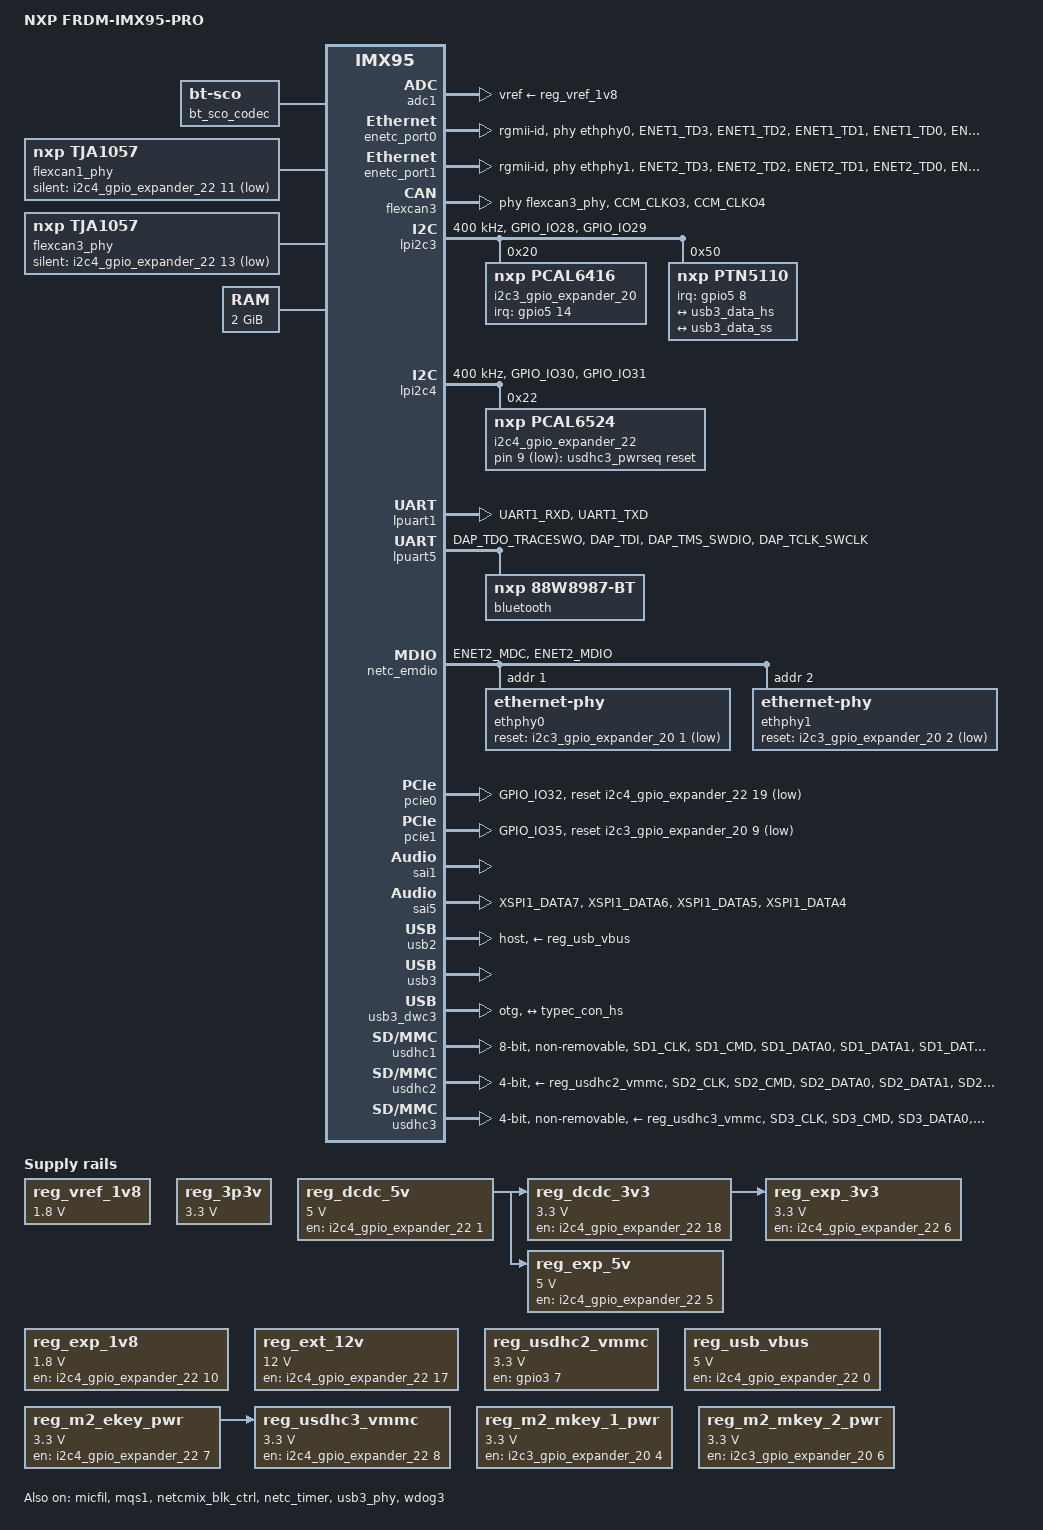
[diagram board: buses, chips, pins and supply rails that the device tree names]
// SPDX-License-Identifier: (GPL-2.0+ OR MIT)
/*
 * Copyright 2026 NXP
 */

/dts-v1/;

#include <dt-bindings/pwm/pwm.h>
#include <dt-bindings/usb/pd.h>
#include "imx95.dtsi"

#define FALLING_EDGE		BIT(0)
#define RISING_EDGE		BIT(1)

#define BRD_SM_CTRL_SD3_WAKE		0x8000	/*!< PCAL6408A-0 */
#define BRD_SM_CTRL_PCIE1_WAKE		0x8001	/*!< PCAL6408A-4 */
#define BRD_SM_CTRL_BT_WAKE		0x8002	/*!< PCAL6408A-5 */
#define BRD_SM_CTRL_PCIE2_WAKE		0x8003	/*!< PCAL6408A-6 */
#define BRD_SM_CTRL_BUTTON		0x8004	/*!< PCAL6408A-7 */

/ {
	model = "NXP FRDM-IMX95-PRO";
	compatible = "fsl,imx95-19x19-frdm-pro", "fsl,imx95";

	aliases {
		ethernet0 = &enetc_port0;
		ethernet1 = &enetc_port1;
		gpio0 = &gpio1;
		gpio1 = &gpio2;
		gpio2 = &gpio3;
		gpio3 = &gpio4;
		gpio4 = &gpio5;
		i2c0 = &lpi2c1;
		i2c1 = &lpi2c2;
		i2c2 = &lpi2c3;
		i2c3 = &lpi2c4;
		mmc0 = &usdhc1;
		mmc1 = &usdhc2;
		serial0 = &lpuart1;
		serial4 = &lpuart5;
	};

	bt_sco_codec: bt_sco_codec {
		#sound-dai-cells = <1>;
		compatible = "linux,bt-sco";
	};

	chosen {
		stdout-path = &lpuart1;
		#address-cells = <2>;
		#size-cells = <2>;
	};

	flexcan1_phy: can-phy0 {
		compatible = "nxp,tja1057";
		#phy-cells = <0>;
		max-bitrate = <5000000>;
		silent-gpios = <&i2c4_gpio_expander_22 11 GPIO_ACTIVE_LOW>;
	};

	flexcan3_phy: can-phy2 {
		compatible = "nxp,tja1057";
		#phy-cells = <0>;
		max-bitrate = <5000000>;
		silent-gpios = <&i2c4_gpio_expander_22 13 GPIO_ACTIVE_LOW>;
	};

	memory@80000000 {
		device_type = "memory";
		reg = <0x0 0x80000000 0 0x80000000>;
	};

	reserved-memory {
		#address-cells = <2>;
		#size-cells = <2>;
		ranges;

		linux_cma: linux,cma {
			compatible = "shared-dma-pool";
			reusable;
			size = <0 0x3c000000>;
			alloc-ranges = <0 0x80000000 0 0x7F000000>;
			linux,cma-default;
		};
	};

	reg_vref_1v8: regulator-1p8v {
		compatible = "regulator-fixed";
		regulator-max-microvolt = <1800000>;
		regulator-min-microvolt = <1800000>;
		regulator-name = "+V1.8_SW";
	};

	reg_3p3v: regulator-3p3v {
		compatible = "regulator-fixed";
		regulator-max-microvolt = <3300000>;
		regulator-min-microvolt = <3300000>;
		regulator-name = "+V3.3_SW";
	};

	reg_dcdc_5v: regulator-dcdc-5v {
		compatible = "regulator-fixed";
		regulator-max-microvolt = <5000000>;
		regulator-min-microvolt = <5000000>;
		regulator-name = "DCDC_5V";
		gpio = <&i2c4_gpio_expander_22 1 GPIO_ACTIVE_HIGH>;
		enable-active-high;
		regulator-always-on;
	};

	reg_dcdc_3v3: regulator-dcdc-3v3 {
		compatible = "regulator-fixed";
		regulator-max-microvolt = <3300000>;
		regulator-min-microvolt = <3300000>;
		regulator-name = "DCDC_3V3";
		gpio = <&i2c4_gpio_expander_22 18 GPIO_ACTIVE_HIGH>;
		vin-supply = <&reg_dcdc_5v>;
		enable-active-high;
		regulator-always-on;
	};

	reg_exp_1v8: regulator-exp-1v8 {
		compatible = "regulator-fixed";
		regulator-max-microvolt = <1800000>;
		regulator-min-microvolt = <1800000>;
		regulator-name = "EXP_1V8";
		gpio = <&i2c4_gpio_expander_22 10 GPIO_ACTIVE_HIGH>;
		enable-active-high;
	};

	reg_exp_3v3: regulator-exp-3v3 {
		compatible = "regulator-fixed";
		regulator-max-microvolt = <3300000>;
		regulator-min-microvolt = <3300000>;
		regulator-name = "EXP_3V3";
		gpio = <&i2c4_gpio_expander_22 6 GPIO_ACTIVE_HIGH>;
		vin-supply = <&reg_dcdc_3v3>;
		enable-active-high;
	};

	reg_exp_5v: regulator-exp-5v {
		compatible = "regulator-fixed";
		regulator-max-microvolt = <5000000>;
		regulator-min-microvolt = <5000000>;
		regulator-name = "EXP_5V";
		gpio = <&i2c4_gpio_expander_22 5 GPIO_ACTIVE_HIGH>;
		vin-supply = <&reg_dcdc_5v>;
		enable-active-high;
		regulator-always-on;
	};

	reg_ext_12v: regulator-ext-12v {
		compatible = "regulator-fixed";
		regulator-name = "VCCEXT_12V";
		regulator-min-microvolt = <12000000>;
		regulator-max-microvolt = <12000000>;
		gpio = <&i2c4_gpio_expander_22 17 GPIO_ACTIVE_HIGH>;
		enable-active-high;
		regulator-always-on;
	};

	reg_usdhc2_vmmc: regulator-usdhc2 {
		compatible = "regulator-fixed";
		pinctrl-names = "default";
		pinctrl-0 = <&pinctrl_reg_usdhc2_vmmc>;
		regulator-name = "VDD_SD2_3V3";
		regulator-min-microvolt = <3300000>;
		regulator-max-microvolt = <3300000>;
		gpio = <&gpio3 7 GPIO_ACTIVE_HIGH>;
		off-on-delay-us = <12000>;
		enable-active-high;
	};

	reg_usb_vbus: regulator-vbus {
		compatible = "regulator-fixed";
		regulator-name = "USB_VBUS";
		regulator-min-microvolt = <5000000>;
		regulator-max-microvolt = <5000000>;
		gpio = <&i2c4_gpio_expander_22 0 GPIO_ACTIVE_HIGH>;
		enable-active-high;
	};

	usdhc3_pwrseq: usdhc3_pwrseq {
		compatible = "mmc-pwrseq-simple";
		reset-gpios = <&i2c4_gpio_expander_22 9 GPIO_ACTIVE_LOW>;
	};

	reg_usdhc3_vmmc: regulator-usdhc3 {
		compatible = "regulator-fixed";
		regulator-name = "WLAN_EN";
		regulator-min-microvolt = <3300000>;
		regulator-max-microvolt = <3300000>;
		vin-supply = <&reg_m2_ekey_pwr>;
		gpio = <&i2c4_gpio_expander_22 8 GPIO_ACTIVE_HIGH>;
		/*
		 * IW612 wifi chip needs more delay than other wifi chips to complete
		 * the host interface initialization after power up, otherwise the
		 * internal state of IW612 may be unstable, resulting in the failure of
		 * the SDIO3.0 switch voltage.
		 */
		startup-delay-us = <20000>;
		enable-active-high;
	};

	reg_m2_ekey_pwr: regulator-m2-pwr {
		compatible = "regulator-fixed";
		regulator-name = "M.2-power-ekey";
		regulator-min-microvolt = <3300000>;
		regulator-max-microvolt = <3300000>;
		gpio = <&i2c4_gpio_expander_22 7 GPIO_ACTIVE_HIGH>;
		enable-active-high;
		regulator-always-on;
	};

	reg_m2_mkey_1_pwr: regulator-m2-mkey-1-pwr {
		compatible = "regulator-fixed";
		regulator-name = "M.2-power-mkey-1";
		regulator-min-microvolt = <3300000>;
		regulator-max-microvolt = <3300000>;
		gpio = <&i2c3_gpio_expander_20 4 GPIO_ACTIVE_HIGH>;
		enable-active-high;
		regulator-always-on;
	};

	reg_m2_mkey_2_pwr: regulator-m2-mkey-2-pwr {
		compatible = "regulator-fixed";
		regulator-name = "M.2-power-mkey-2";
		regulator-min-microvolt = <3300000>;
		regulator-max-microvolt = <3300000>;
		gpio = <&i2c3_gpio_expander_20 6 GPIO_ACTIVE_HIGH>;
		enable-active-high;
		regulator-always-on;
	};

	sound-bt-sco {
		compatible = "simple-audio-card";
		simple-audio-card,name = "bt-sco-audio";
		simple-audio-card,format = "dsp_a";
		simple-audio-card,bitclock-inversion;
		simple-audio-card,frame-master = <&btcpu>;
		simple-audio-card,bitclock-master = <&btcpu>;

		btcpu: simple-audio-card,cpu {
			sound-dai = <&sai5>;
			dai-tdm-slot-num = <2>;
			dai-tdm-slot-width = <16>;
		};

		simple-audio-card,codec {
			sound-dai = <&bt_sco_codec 1>;
		};
	};

	sound-micfil {
		compatible = "fsl,imx-audio-card";
		model = "micfil-audio";
		pri-dai-link {
			link-name = "micfil hifi";
			format = "i2s";
			cpu {
				sound-dai = <&micfil>;
			};
		};
	};

	sound-mqs {
		compatible = "fsl,imx-audio-mqs";
		model = "mqs-audio";
		audio-cpu = <&sai1>;
		audio-codec = <&mqs1>;
	};
};

&adc1 {
	vref-supply = <&reg_vref_1v8>;
	status = "okay";
};

&enetc_port0 {
	pinctrl-names = "default";
	pinctrl-0 = <&pinctrl_enetc0>;
	phy-handle = <&ethphy0>;
	phy-mode = "rgmii-id";
	status = "okay";
};

&enetc_port1 {
	pinctrl-names = "default";
	pinctrl-0 = <&pinctrl_enetc1>;
	phy-handle = <&ethphy1>;
	phy-mode = "rgmii-id";
	status = "okay";
};

&flexcan1 {
	pinctrl-names = "default";
	pinctrl-0 = <&pinctrl_flexcan1>;
	phys = <&flexcan1_phy>;
	status = "disabled";
};

&flexcan3 {
	pinctrl-names = "default";
	pinctrl-0 = <&pinctrl_flexcan3>;
	phys = <&flexcan3_phy>;
	status = "okay";
};

&lpi2c3 {
	clock-frequency = <400000>;
	pinctrl-names = "default";
	pinctrl-0 = <&pinctrl_lpi2c3>;
	status = "okay";

	i2c3_gpio_expander_20: i2c3-gpio-expander@20 {
		compatible = "nxp,pcal6416";
		#gpio-cells = <2>;
		gpio-controller;
		reg = <0x20>;
		interrupt-controller;
		#interrupt-cells = <2>;
		interrupt-parent = <&gpio5>;
		interrupts = <14 IRQ_TYPE_LEVEL_LOW>;
		pinctrl-names = "default";
		pinctrl-0 = <&pinctrl_pcal6416>;
	};

	ptn5110: tcpc@50 {
		compatible = "nxp,ptn5110", "tcpci";
		reg = <0x50>;
		pinctrl-names = "default";
		pinctrl-0 = <&pinctrl_ptn5110>;
		interrupt-parent = <&gpio5>;
		interrupts = <8 IRQ_TYPE_LEVEL_LOW>;

		typec_con: connector {
			compatible = "usb-c-connector";
			label = "USB-C";
			power-role = "dual";
			data-role = "dual";
			try-power-role = "sink";
			source-pdos = <PDO_FIXED(5000, 3000, PDO_FIXED_USB_COMM)>;
			sink-pdos = <PDO_FIXED(5000, 0, PDO_FIXED_USB_COMM)>;
			op-sink-microwatt = <0>;
			self-powered;

			ports {
				#address-cells = <1>;
				#size-cells = <0>;

				port@0 {
					reg = <0>;

					typec_con_hs: endpoint {
						remote-endpoint = <&usb3_data_hs>;
					};
				};

				port@1 {
					reg = <1>;

					typec_con_ss: endpoint {
						remote-endpoint = <&usb3_data_ss>;
					};
				};
			};
		};
	};
};

&lpi2c4 {
	clock-frequency = <400000>;
	pinctrl-names = "default";
	pinctrl-0 = <&pinctrl_lpi2c4>;
	status = "okay";

	i2c4_gpio_expander_22: i2c4-gpio-expander@22 {
		compatible = "nxp,pcal6524";
		pinctrl-names = "default";
		pinctrl-0 = <&pinctrl_pcal6524>;
		reg = <0x22>;
		gpio-controller;
		#gpio-cells = <2>;
		gpio-line-names = "USB2 Power Enable",
				  "DCDC5V Enable",
				  "",
				  "SE Enable",
				  "",
				  "EXP 5V Enable",
				  "EXP 3V3 Enable",
				  "WIFI Power Enable",
				  "M2 DIS1 B",
				  "WIFI SD3 Reset",
				  "EXP 1V8 Enable",
				  "CAN1 Standby",
				  "M2 DIS2",
				  "CAN2 Standby",
				  "ETH 10G IO4",
				  "ETH 10G IO3",
				  "SPI3/GPIO select",
				  "EXP 12V Enable",
				  "DCDC 3V3 Enable",
				  "PCIE1 Reset",
				  "",
				  "ETH 10G CLK Enable",
				  "LVDS to HDMI converter IT6263 reset",
				  "";

		/* When low, select lpspi; When high, select gpio. */
		lpspi-gpio-sel-hog {
			gpio-hog;
			gpios = <16 GPIO_ACTIVE_HIGH>;
			output-low;
		};
	};
};

&lpuart1 {
	/* console */
	pinctrl-names = "default";
	pinctrl-0 = <&pinctrl_uart1>;
	status = "okay";
};

&lpuart5 {
	/* BT */
	pinctrl-names = "default";
	pinctrl-0 = <&pinctrl_uart5>;
	status = "okay";

	bluetooth {
		compatible = "nxp,88w8987-bt";
	};
};

&micfil {
	#sound-dai-cells = <0>;
	pinctrl-names = "default";
	pinctrl-0 = <&pinctrl_pdm>;
	assigned-clocks = <&scmi_clk IMX95_CLK_AUDIOPLL1_VCO>,
			  <&scmi_clk IMX95_CLK_AUDIOPLL2_VCO>,
			  <&scmi_clk IMX95_CLK_AUDIOPLL1>,
			  <&scmi_clk IMX95_CLK_AUDIOPLL2>,
			  <&scmi_clk IMX95_CLK_PDM>;
	assigned-clock-parents = <0>, <0>, <0>, <0>,
				 <&scmi_clk IMX95_CLK_AUDIOPLL1>;
	assigned-clock-rates = <3932160000>,
			       <3612672000>, <393216000>,
			       <361267200>, <49152000>;
	status = "okay";
};

&mqs1 {
	pinctrl-names = "default";
	pinctrl-0 = <&pinctrl_mqs1>;
	clocks = <&scmi_clk IMX95_CLK_SAI1>;
	clock-names = "mclk";
	status = "okay";
};

&netcmix_blk_ctrl {
	status = "okay";
};

&netc_emdio {
	pinctrl-names = "default";
	pinctrl-0 = <&pinctrl_emdio>;
	status = "okay";

	ethphy0: ethernet-phy@1 {
		reg = <1>;
		reset-gpios = <&i2c3_gpio_expander_20 1 GPIO_ACTIVE_LOW>;
		reset-assert-us = <10000>;
		reset-deassert-us = <80000>;
	};

	ethphy1: ethernet-phy@2 {
		reg = <2>;
		reset-gpios = <&i2c3_gpio_expander_20 2 GPIO_ACTIVE_LOW>;
		reset-assert-us = <10000>;
		reset-deassert-us = <80000>;
	};
};

&netc_timer {
	status = "okay";
};

&pcie0 {
	pinctrl-0 = <&pinctrl_pcie0>;
	pinctrl-names = "default";
	reset-gpio = <&i2c4_gpio_expander_22 19 GPIO_ACTIVE_LOW>;
	vpcie-supply = <&reg_m2_mkey_1_pwr>;
	status = "okay";
};

&pcie1 {
	pinctrl-0 = <&pinctrl_pcie1>;
	pinctrl-names = "default";
	reset-gpio = <&i2c3_gpio_expander_20 9 GPIO_ACTIVE_LOW>;
	vpcie-supply = <&reg_m2_mkey_2_pwr>;
	status = "okay";
};

&sai1 {
	#sound-dai-cells = <0>;
	clocks = <&scmi_clk IMX95_CLK_BUSAON>, <&dummy>,
		 <&scmi_clk IMX95_CLK_SAI1>, <&dummy>,
		 <&dummy>, <&scmi_clk IMX95_CLK_AUDIOPLL1>,
		 <&scmi_clk IMX95_CLK_AUDIOPLL2>;
	clock-names = "bus", "mclk0", "mclk1", "mclk2", "mclk3", "pll8k", "pll11k";
	assigned-clocks = <&scmi_clk IMX95_CLK_AUDIOPLL1_VCO>,
			  <&scmi_clk IMX95_CLK_AUDIOPLL2_VCO>,
			  <&scmi_clk IMX95_CLK_AUDIOPLL1>,
			  <&scmi_clk IMX95_CLK_AUDIOPLL2>,
			  <&scmi_clk IMX95_CLK_SAI1>;
	assigned-clock-parents = <0>, <0>, <0>, <0>,
				 <&scmi_clk IMX95_CLK_AUDIOPLL1>;
	assigned-clock-rates = <3932160000>,
			       <3612672000>, <393216000>,
			       <361267200>, <24576000>;
	fsl,sai-mclk-direction-output;
	status = "okay";
};

&sai5 {
	#sound-dai-cells = <0>;
	pinctrl-names = "default";
	pinctrl-0 = <&pinctrl_sai5>;
	assigned-clocks = <&scmi_clk IMX95_CLK_AUDIOPLL1_VCO>,
			  <&scmi_clk IMX95_CLK_AUDIOPLL2_VCO>,
			  <&scmi_clk IMX95_CLK_AUDIOPLL1>,
			  <&scmi_clk IMX95_CLK_AUDIOPLL2>,
			  <&scmi_clk IMX95_CLK_SAI5>;
	assigned-clock-parents = <0>, <0>, <0>, <0>,
				 <&scmi_clk IMX95_CLK_AUDIOPLL1>;
	assigned-clock-rates = <3932160000>,
			       <3612672000>, <393216000>,
			       <361267200>, <12288000>;
	fsl,sai-mclk-direction-output;
	status = "okay";
};

&scmi_misc {
	nxp,ctrl-ids = <BRD_SM_CTRL_SD3_WAKE		1
			BRD_SM_CTRL_PCIE1_WAKE		1
			BRD_SM_CTRL_BT_WAKE		1
			BRD_SM_CTRL_PCIE2_WAKE		1
			BRD_SM_CTRL_BUTTON		1>;
};

&scmi_iomuxc {
	pinctrl-names = "default";
	pinctrl-0 = <&pinctrl_hog>;

	pinctrl_enetc0: enetc0grp {
		fsl,pins = <
			IMX95_PAD_ENET1_TD3__NETCMIX_TOP_ETH0_RGMII_TD3		0x50e
			IMX95_PAD_ENET1_TD2__NETCMIX_TOP_ETH0_RGMII_TD2		0x50e
			IMX95_PAD_ENET1_TD1__NETCMIX_TOP_ETH0_RGMII_TD1		0x50e
			IMX95_PAD_ENET1_TD0__NETCMIX_TOP_ETH0_RGMII_TD0		0x50e
			IMX95_PAD_ENET1_TX_CTL__NETCMIX_TOP_ETH0_RGMII_TX_CTL	0x57e
			IMX95_PAD_ENET1_TXC__NETCMIX_TOP_ETH0_RGMII_TX_CLK	0x58e
			IMX95_PAD_ENET1_RX_CTL__NETCMIX_TOP_ETH0_RGMII_RX_CTL	0x57e
			IMX95_PAD_ENET1_RXC__NETCMIX_TOP_ETH0_RGMII_RX_CLK	0x58e
			IMX95_PAD_ENET1_RD0__NETCMIX_TOP_ETH0_RGMII_RD0		0x57e
			IMX95_PAD_ENET1_RD1__NETCMIX_TOP_ETH0_RGMII_RD1		0x57e
			IMX95_PAD_ENET1_RD2__NETCMIX_TOP_ETH0_RGMII_RD2		0x57e
			IMX95_PAD_ENET1_RD3__NETCMIX_TOP_ETH0_RGMII_RD3		0x57e
		>;
	};

	pinctrl_enetc1: enetc1grp {
		fsl,pins = <
			IMX95_PAD_ENET2_TD3__NETCMIX_TOP_ETH1_RGMII_TD3		0x50e
			IMX95_PAD_ENET2_TD2__NETCMIX_TOP_ETH1_RGMII_TD2		0x50e
			IMX95_PAD_ENET2_TD1__NETCMIX_TOP_ETH1_RGMII_TD1		0x50e
			IMX95_PAD_ENET2_TD0__NETCMIX_TOP_ETH1_RGMII_TD0		0x50e
			IMX95_PAD_ENET2_TX_CTL__NETCMIX_TOP_ETH1_RGMII_TX_CTL	0x57e
			IMX95_PAD_ENET2_TXC__NETCMIX_TOP_ETH1_RGMII_TX_CLK	0x58e
			IMX95_PAD_ENET2_RX_CTL__NETCMIX_TOP_ETH1_RGMII_RX_CTL	0x57e
			IMX95_PAD_ENET2_RXC__NETCMIX_TOP_ETH1_RGMII_RX_CLK	0x58e
			IMX95_PAD_ENET2_RD0__NETCMIX_TOP_ETH1_RGMII_RD0		0x57e
			IMX95_PAD_ENET2_RD1__NETCMIX_TOP_ETH1_RGMII_RD1		0x57e
			IMX95_PAD_ENET2_RD2__NETCMIX_TOP_ETH1_RGMII_RD2		0x57e
			IMX95_PAD_ENET2_RD3__NETCMIX_TOP_ETH1_RGMII_RD3		0x57e
		>;
	};

	pinctrl_flexcan1: flexcan1grp {
		fsl,pins = <
			IMX95_PAD_SAI1_TXD0__AONMIX_TOP_CAN1_TX		0x39e
			IMX95_PAD_SAI1_TXC__AONMIX_TOP_CAN1_RX		0x39e
		>;
	};

	pinctrl_flexcan3: flexcan3grp {
		fsl,pins = <
			IMX95_PAD_CCM_CLKO3__CAN3_TX			0x39e
			IMX95_PAD_CCM_CLKO4__CAN3_RX			0x39e
		>;
	};

	pinctrl_emdio: emdiogrp {
		fsl,pins = <
			IMX95_PAD_ENET2_MDC__NETCMIX_TOP_NETC_MDC		0x50e
			IMX95_PAD_ENET2_MDIO__NETCMIX_TOP_NETC_MDIO		0x90e
		>;
	};

	pinctrl_hog: hoggrp {
		fsl,pins = <
			IMX95_PAD_XSPI1_SS1_B__GPIO5_IO_BIT11		0x31e
		>;
	};

	pinctrl_lpi2c1: lpi2c1grp {
		fsl,pins = <
			IMX95_PAD_I2C1_SCL__AONMIX_TOP_LPI2C1_SCL	0x40000b9e
			IMX95_PAD_I2C1_SDA__AONMIX_TOP_LPI2C1_SDA	0x40000b9e
		>;
	};

	pinctrl_lpi2c2: lpi2c2grp {
		fsl,pins = <
			IMX95_PAD_I2C2_SCL__AONMIX_TOP_LPI2C2_SCL	0x40000b9e
			IMX95_PAD_I2C2_SDA__AONMIX_TOP_LPI2C2_SDA	0x40000b9e
		>;
	};

	pinctrl_lpi2c3: lpi2c3grp {
		fsl,pins = <
			IMX95_PAD_GPIO_IO28__LPI2C3_SDA			0x40000b9e
			IMX95_PAD_GPIO_IO29__LPI2C3_SCL			0x40000b9e
		>;
	};

	pinctrl_lpi2c4: lpi2c4grp {
		fsl,pins = <
			IMX95_PAD_GPIO_IO30__LPI2C4_SDA			0x40000b9e
			IMX95_PAD_GPIO_IO31__LPI2C4_SCL			0x40000b9e
		>;
	};

	pinctrl_mipi_dsi_csi: mipidsigrp {
		fsl,pins = <
			IMX95_PAD_XSPI1_DATA6__GPIO5_IO_BIT6			0x31e
		>;
	};

	pinctrl_mqs1: mqs1grp {
		fsl,pins = <
			IMX95_PAD_SAI1_TXFS__AONMIX_TOP_MQS1_LEFT		0x31e
			IMX95_PAD_SAI1_RXD0__AONMIX_TOP_MQS1_RIGHT		0x31e
		>;
	};

	pinctrl_pcal6416: pcal6416grp {
		fsl,pins = <
			IMX95_PAD_GPIO_IO34__GPIO5_IO_BIT14			0x31
		>;
	};

	pinctrl_pcal6524: pcal6524grp {
		fsl,pins = <
			IMX95_PAD_GPIO_IO34__GPIO5_IO_BIT14		0x31e
		>;
	};

	pinctrl_pcie0: pcie0grp {
		fsl,pins = <
			IMX95_PAD_GPIO_IO32__HSIOMIX_TOP_PCIE1_CLKREQ_B		0x4000031e
		>;
	};

	pinctrl_pcie1: pcie1grp {
		fsl,pins = <
			IMX95_PAD_GPIO_IO35__HSIOMIX_TOP_PCIE2_CLKREQ_B     0x4000031e
		>;
	};

	pinctrl_pdm: pdmgrp {
		fsl,pins = <
			IMX95_PAD_PDM_CLK__AONMIX_TOP_PDM_CLK				0x31e
			IMX95_PAD_PDM_BIT_STREAM0__AONMIX_TOP_PDM_BIT_STREAM_BIT0	0x31e
		>;
	};

	pinctrl_ptn5110: ptn5110grp {
		fsl,pins = <
			IMX95_PAD_XSPI1_DQS__GPIO5_IO_BIT8			0x31e
		>;
	};

	pinctrl_uart1: uart1grp {
		fsl,pins = <
			IMX95_PAD_UART1_RXD__AONMIX_TOP_LPUART1_RX      0x31e
			IMX95_PAD_UART1_TXD__AONMIX_TOP_LPUART1_TX      0x31e
		>;
	};

	pinctrl_uart5: uart5grp {
		fsl,pins = <
			IMX95_PAD_DAP_TDO_TRACESWO__LPUART5_TX			0x31e
			IMX95_PAD_DAP_TDI__LPUART5_RX				0x31e
			IMX95_PAD_DAP_TMS_SWDIO__LPUART5_RTS_B			0x31e
			IMX95_PAD_DAP_TCLK_SWCLK__LPUART5_CTS_B			0x31e
		>;
	};

	pinctrl_usdhc1: usdhc1grp {
		fsl,pins = <
			IMX95_PAD_SD1_CLK__USDHC1_CLK				0x158e
			IMX95_PAD_SD1_CMD__USDHC1_CMD				0x138e
			IMX95_PAD_SD1_DATA0__USDHC1_DATA0			0x138e
			IMX95_PAD_SD1_DATA1__USDHC1_DATA1			0x138e
			IMX95_PAD_SD1_DATA2__USDHC1_DATA2			0x138e
			IMX95_PAD_SD1_DATA3__USDHC1_DATA3			0x138e
			IMX95_PAD_SD1_DATA4__USDHC1_DATA4			0x138e
			IMX95_PAD_SD1_DATA5__USDHC1_DATA5			0x138e
			IMX95_PAD_SD1_DATA6__USDHC1_DATA6			0x138e
			IMX95_PAD_SD1_DATA7__USDHC1_DATA7			0x138e
			IMX95_PAD_SD1_STROBE__USDHC1_STROBE			0x158e
		>;
	};

	pinctrl_usdhc1_100mhz: usdhc1-100mhzgrp {
		fsl,pins = <
			IMX95_PAD_SD1_CLK__USDHC1_CLK				0x158e
			IMX95_PAD_SD1_CMD__USDHC1_CMD				0x138e
			IMX95_PAD_SD1_DATA0__USDHC1_DATA0			0x138e
			IMX95_PAD_SD1_DATA1__USDHC1_DATA1			0x138e
			IMX95_PAD_SD1_DATA2__USDHC1_DATA2			0x138e
			IMX95_PAD_SD1_DATA3__USDHC1_DATA3			0x138e
			IMX95_PAD_SD1_DATA4__USDHC1_DATA4			0x138e
			IMX95_PAD_SD1_DATA5__USDHC1_DATA5			0x138e
			IMX95_PAD_SD1_DATA6__USDHC1_DATA6			0x138e
			IMX95_PAD_SD1_DATA7__USDHC1_DATA7			0x138e
			IMX95_PAD_SD1_STROBE__USDHC1_STROBE			0x158e
		>;
	};

	pinctrl_usdhc1_200mhz: usdhc1-200mhzgrp {
		fsl,pins = <
			IMX95_PAD_SD1_CLK__USDHC1_CLK				0x15fe
			IMX95_PAD_SD1_CMD__USDHC1_CMD				0x13fe
			IMX95_PAD_SD1_DATA0__USDHC1_DATA0			0x13fe
			IMX95_PAD_SD1_DATA1__USDHC1_DATA1			0x13fe
			IMX95_PAD_SD1_DATA2__USDHC1_DATA2			0x13fe
			IMX95_PAD_SD1_DATA3__USDHC1_DATA3			0x13fe
			IMX95_PAD_SD1_DATA4__USDHC1_DATA4			0x13fe
			IMX95_PAD_SD1_DATA5__USDHC1_DATA5			0x13fe
			IMX95_PAD_SD1_DATA6__USDHC1_DATA6			0x13fe
			IMX95_PAD_SD1_DATA7__USDHC1_DATA7			0x13fe
			IMX95_PAD_SD1_STROBE__USDHC1_STROBE			0x15fe
		>;
	};

	pinctrl_reg_usdhc2_vmmc: regusdhc2vmmcgrp {
		fsl,pins = <
			IMX95_PAD_SD2_RESET_B__GPIO3_IO_BIT7			0x31e
		>;
	};

	pinctrl_sai5: sai5grp {
		fsl,pins = <
			IMX95_PAD_XSPI1_DATA7__SAI5_RX_DATA_BIT0		0x31e
			IMX95_PAD_XSPI1_DATA6__SAI5_TX_BCLK			0x31e
			IMX95_PAD_XSPI1_DATA5__SAI5_TX_SYNC			0x31e
			IMX95_PAD_XSPI1_DATA4__SAI5_TX_DATA_BIT0		0x31e
		>;
	};

	pinctrl_usdhc2_gpio: usdhc2gpiogrp {
		fsl,pins = <
			IMX95_PAD_SD2_CD_B__GPIO3_IO_BIT0			0x31e
		>;
	};

	pinctrl_usdhc2: usdhc2grp {
		fsl,pins = <
			IMX95_PAD_SD2_CLK__USDHC2_CLK				0x158e
			IMX95_PAD_SD2_CMD__USDHC2_CMD				0x138e
			IMX95_PAD_SD2_DATA0__USDHC2_DATA0			0x138e
			IMX95_PAD_SD2_DATA1__USDHC2_DATA1			0x138e
			IMX95_PAD_SD2_DATA2__USDHC2_DATA2			0x138e
			IMX95_PAD_SD2_DATA3__USDHC2_DATA3			0x138e
			IMX95_PAD_SD2_VSELECT__USDHC2_VSELECT			0x51e
		>;
	};

	pinctrl_usdhc2_100mhz: usdhc2-100mhzgrp {
		fsl,pins = <
			IMX95_PAD_SD2_CLK__USDHC2_CLK				0x158e
			IMX95_PAD_SD2_CMD__USDHC2_CMD				0x138e
			IMX95_PAD_SD2_DATA0__USDHC2_DATA0			0x138e
			IMX95_PAD_SD2_DATA1__USDHC2_DATA1			0x138e
			IMX95_PAD_SD2_DATA2__USDHC2_DATA2			0x138e
			IMX95_PAD_SD2_DATA3__USDHC2_DATA3			0x138e
			IMX95_PAD_SD2_VSELECT__USDHC2_VSELECT			0x51e
		>;
	};

	pinctrl_usdhc2_200mhz: usdhc2-200mhzgrp {
		fsl,pins = <
			IMX95_PAD_SD2_CLK__USDHC2_CLK				0x158e
			IMX95_PAD_SD2_CMD__USDHC2_CMD				0x138e
			IMX95_PAD_SD2_DATA0__USDHC2_DATA0			0x138e
			IMX95_PAD_SD2_DATA1__USDHC2_DATA1			0x138e
			IMX95_PAD_SD2_DATA2__USDHC2_DATA2			0x138e
			IMX95_PAD_SD2_DATA3__USDHC2_DATA3			0x138e
			IMX95_PAD_SD2_VSELECT__USDHC2_VSELECT			0x51e
		>;
	};

	pinctrl_usdhc3: usdhc3grp {
		fsl,pins = <
			IMX95_PAD_SD3_CLK__USDHC3_CLK				0x158e
			IMX95_PAD_SD3_CMD__USDHC3_CMD				0x138e
			IMX95_PAD_SD3_DATA0__USDHC3_DATA0			0x138e
			IMX95_PAD_SD3_DATA1__USDHC3_DATA1			0x138e
			IMX95_PAD_SD3_DATA2__USDHC3_DATA2			0x138e
			IMX95_PAD_SD3_DATA3__USDHC3_DATA3			0x138e
		>;
	};

	pinctrl_usdhc3_100mhz: usdhc3-100mhzgrp {
		fsl,pins = <
			IMX95_PAD_SD3_CLK__USDHC3_CLK				0x158e
			IMX95_PAD_SD3_CMD__USDHC3_CMD				0x138e
			IMX95_PAD_SD3_DATA0__USDHC3_DATA0			0x138e
			IMX95_PAD_SD3_DATA1__USDHC3_DATA1			0x138e
			IMX95_PAD_SD3_DATA2__USDHC3_DATA2			0x138e
			IMX95_PAD_SD3_DATA3__USDHC3_DATA3			0x138e
		>;
	};

	pinctrl_usdhc3_200mhz: usdhc3-200mhzgrp {
		fsl,pins = <
			IMX95_PAD_SD3_CLK__USDHC3_CLK				0x15fe
			IMX95_PAD_SD3_CMD__USDHC3_CMD				0x13fe
			IMX95_PAD_SD3_DATA0__USDHC3_DATA0			0x13fe
			IMX95_PAD_SD3_DATA1__USDHC3_DATA1			0x13fe
			IMX95_PAD_SD3_DATA2__USDHC3_DATA2			0x13fe
			IMX95_PAD_SD3_DATA3__USDHC3_DATA3			0x13fe
		>;
	};
};

&thermal_zones {
	pf09-thermal {
		polling-delay = <2000>;
		polling-delay-passive = <250>;
		thermal-sensors = <&scmi_sensor 2>;

		trips {
			pf09_alert: trip0 {
				hysteresis = <2000>;
				temperature = <140000>;
				type = "passive";
			};

			pf09_crit: trip1 {
				hysteresis = <2000>;
				temperature = <155000>;
				type = "critical";
			};
		};
	};

	pf53arm-thermal {
		polling-delay = <2000>;
		polling-delay-passive = <250>;
		thermal-sensors = <&scmi_sensor 4>;

		cooling-maps {
			map0 {
				trip = <&pf5301_alert>;
				cooling-device =
					<&A55_0 THERMAL_NO_LIMIT THERMAL_NO_LIMIT>,
					<&A55_1 THERMAL_NO_LIMIT THERMAL_NO_LIMIT>,
					<&A55_2 THERMAL_NO_LIMIT THERMAL_NO_LIMIT>,
					<&A55_3 THERMAL_NO_LIMIT THERMAL_NO_LIMIT>,
					<&A55_4 THERMAL_NO_LIMIT THERMAL_NO_LIMIT>,
					<&A55_5 THERMAL_NO_LIMIT THERMAL_NO_LIMIT>;
			};
		};

		trips {
			pf5301_alert: trip0 {
				hysteresis = <2000>;
				temperature = <140000>;
				type = "passive";
			};

			pf5301_crit: trip1 {
				hysteresis = <2000>;
				temperature = <155000>;
				type = "critical";
			};
		};
	};

	pf53soc-thermal {
		polling-delay = <2000>;
		polling-delay-passive = <250>;
		thermal-sensors = <&scmi_sensor 3>;

		trips {
			pf5302_alert: trip0 {
				hysteresis = <2000>;
				temperature = <140000>;
				type = "passive";
			};

			pf5302_crit: trip1 {
				hysteresis = <2000>;
				temperature = <155000>;
				type = "critical";
			};
		};
	};
};

&usb2 {
	dr_mode = "host";
	vbus-supply = <&reg_usb_vbus>;
	disable-over-current;
	status = "okay";
};

&usb3 {
	status = "okay";
};

&usb3_dwc3 {
	dr_mode = "otg";
	hnp-disable;
	srp-disable;
	adp-disable;
	usb-role-switch;
	role-switch-default-mode = "peripheral";
	snps,dis-u1-entry-quirk;
	snps,dis-u2-entry-quirk;
	status = "okay";

	port {
		usb3_data_hs: endpoint {
			remote-endpoint = <&typec_con_hs>;
		};
	};
};

&usb3_phy {
	fsl,phy-pcs-tx-deemph-3p5db-attenuation-db = <17>;
	fsl,phy-pcs-tx-swing-full-percent = <100>;
	fsl,phy-tx-preemp-amp-tune-microamp = <600>;
	fsl,phy-tx-vboost-level-microvolt = <1156>;
	fsl,phy-tx-vref-tune-percent = <100>;
	orientation-switch;
	status = "okay";

	port {
		usb3_data_ss: endpoint {
			remote-endpoint = <&typec_con_ss>;
		};
	};
};

&usdhc1 {
	pinctrl-names = "default", "state_100mhz", "state_200mhz", "sleep";
	pinctrl-0 = <&pinctrl_usdhc1>;
	pinctrl-1 = <&pinctrl_usdhc1_100mhz>;
	pinctrl-2 = <&pinctrl_usdhc1_200mhz>;
	pinctrl-3 = <&pinctrl_usdhc1>;
	bus-width = <8>;
	non-removable;
	no-sdio;
	no-sd;
	status = "okay";
};

&usdhc2 {
	pinctrl-names = "default", "state_100mhz", "state_200mhz", "sleep";
	pinctrl-0 = <&pinctrl_usdhc2>, <&pinctrl_usdhc2_gpio>;
	pinctrl-1 = <&pinctrl_usdhc2_100mhz>, <&pinctrl_usdhc2_gpio>;
	pinctrl-2 = <&pinctrl_usdhc2_200mhz>, <&pinctrl_usdhc2_gpio>;
	pinctrl-3 = <&pinctrl_usdhc2>, <&pinctrl_usdhc2_gpio>;
	cd-gpios = <&gpio3 00 GPIO_ACTIVE_LOW>;
	vmmc-supply = <&reg_usdhc2_vmmc>;
	bus-width = <4>;
	status = "okay";
};

&usdhc3 {
	pinctrl-names = "default", "state_100mhz", "state_200mhz", "sleep";
	pinctrl-0 = <&pinctrl_usdhc3>;
	pinctrl-1 = <&pinctrl_usdhc3_100mhz>;
	pinctrl-2 = <&pinctrl_usdhc3_200mhz>;
	pinctrl-3 = <&pinctrl_usdhc3>;
	mmc-pwrseq = <&usdhc3_pwrseq>;
	vmmc-supply = <&reg_usdhc3_vmmc>;
	bus-width = <4>;
	keep-power-in-suspend;
	non-removable;
	wakeup-source;
	status = "okay";
};

&wdog3 {
	status = "okay";
};
